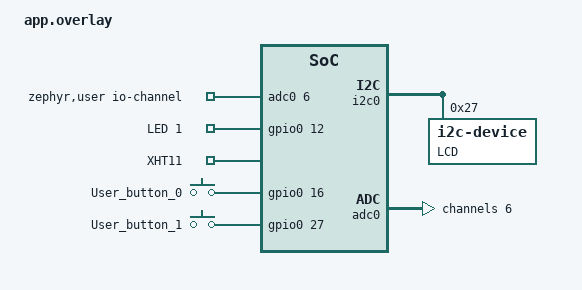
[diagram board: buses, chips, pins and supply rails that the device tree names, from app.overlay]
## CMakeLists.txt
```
# SPDX-License-Identifier: Apache-2.0

cmake_minimum_required(VERSION 3.20.0)

find_package(Zephyr REQUIRED HINTS $ENV{ZEPHYR_BASE})
project(hello_world)

target_sources(app PRIVATE src/main.c)
target_sources(app PRIVATE src/main.c src/lcd_screen_i2c.c)
```

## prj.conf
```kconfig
# nothing here
CONFIG_ESP32_USE_UNSUPPORTED_REVISION=y
CONFIG_I2C=y
CONFIG_SENSOR=y
CONFIG_ADC=y
CONFIG_PWM=y
```

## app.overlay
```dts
/ { 

    zephyr,user{
        io-channels= <&adc0 6>;
    };

    gpio_keys {
        compatible = "gpio-keys";
        ledyellow: led_yellow {
            gpios = <&gpio0 12 GPIO_ACTIVE_HIGH>;
            label = "LED 1";
        };

        dht11:dht11 {
            compatible = "aosong,dht";
            status = "okay";
            dio-gpios = <&gpio0 17 GPIO_ACTIVE_LOW>;
            label = "XHT11";
        };



    };
    buttons {
            
            
        button0: button_0 {
                gpios = <&gpio0 16 GPIO_PULL_UP>;
                label = "User_button_0";
        };

        button1: button_1 {
                gpios = <&gpio0 27 GPIO_PULL_UP>;
                label = "User_button_1";
        };
    };
/* 
    pwm_buzzer {
        compatible="pwm-leds";
        status="okay";

        buzzer: buzzer_pwm {
            pwms = <&pwm1 0 PWM_HZ(880) PWM_POLARITY_NORMAL>;
            label = "PWM_1";
        };
    };
*/
    aliases {
        led-yellow = &ledyellow;
        lcd-screen = &lcdscreen;
        sw0 = &button0;
        sw1 = &button1;
        //buzzer-pwm = &buzzer;
    };
};



&i2c0 {
    lcdscreen: lcd_screen@27 {
            compatible = "i2c-device";
            label = "LCD";
            reg = <0x27>;


    };
};

&adc0 {
    status = "okay";
    #address-cells = <1>;
    #size-cells = <0>;
    
    channel@6 {
        reg = <6>;
        zephyr,gain = "ADC_GAIN_1_4";
        zephyr,reference = "ADC_REF_INTERNAL";
        zephyr,acquisition-time = <ADC_ACQ_TIME_DEFAULT>;
        zephyr,resolution = <12>;
    };
};
/* 
&pwm1 {
    status ="okay";
    pinctrl-0 = <&pwm1_default>;
    pinctrl-1 = <&pwm1_sleep>;
    pinctrl-names = "default", "sleep";
};
*/
```

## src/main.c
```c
#include <stdio.h>
#include <zephyr/kernel.h>
#include <zephyr/drivers/gpio.h>
#include "../driver-lcd1602-i2c/lcd_screen_i2c.h"
#include <zephyr/drivers/i2c.h>
#include <zephyr/drivers/sensor.h>
#include <zephyr/drivers/adc.h>
//#include <drivers/pwm.h>

#include <inttypes.h>
#include <stddef.h>
#include <stdint.h>

//Définition des aliases
#define LED_YELLOW_NODE DT_ALIAS(led_yellow)
#define LCD_SCREEN_NODE DT_ALIAS(lcd_screen)
#define SW0_NODE DT_ALIAS(sw0)
#define SW1_NODE DT_ALIAS(sw1)



//Définitions des devices utilisés
const struct gpio_dt_spec led_yellow_gpio = GPIO_DT_SPEC_GET_OR(LED_YELLOW_NODE, gpios, {0});
const struct i2c_dt_spec lcd_screen_dev = I2C_DT_SPEC_GET(LCD_SCREEN_NODE);
const struct device *const dht11 = DEVICE_DT_GET_ONE(aosong_dht);
static const struct gpio_dt_spec button0 = GPIO_DT_SPEC_GET_OR(SW0_NODE, gpios,{0});
//static const struct gpio_dt_spec button1 = GPIO_DT_SPEC_GET_OR(SW1_NODE, gpios,{0});

        //=========================================
        //                Fonctions
        //=========================================
    void button_pressed(const struct device *dev, struct gpio_callback *cb,
		    uint32_t pins)
{

	//Action à réaliser à l'appui bouton
	printk("Appui bouton !");

}

        //=========================================
        //                Main
        //=========================================
int main(void) 
{
	static struct gpio_callback button_cb_data;

	gpio_pin_configure_dt(&led_yellow_gpio, GPIO_OUTPUT_HIGH);
    
    
    // Init LCD device & buttons
    init_lcd(&lcd_screen_dev);
	gpio_init_callback(&button_cb_data, button_pressed, BIT(button0.pin));
	gpio_add_callback(button0.port, &button_cb_data);

	
	k_sleep(K_SECONDS(1));
	while (1)
	{

		k_sleep(K_SECONDS(10));
	}
    
}

void thread_lecture_th()
{ 
	while (1)
	{
		//Variable de temperature et humidité
    	struct sensor_value temperature, humidity;

        //=========================================
        //Lecture Capteur de température & Humidité
        //=========================================


        sensor_sample_fetch(dht11);

        //Lecture des données 
        sensor_channel_get(dht11,  SENSOR_CHAN_AMBIENT_TEMP, &temperature);
        sensor_channel_get(dht11,  SENSOR_CHAN_HUMIDITY, &humidity);

        int temp = sensor_value_to_double(&temperature);
        int humi = sensor_value_to_double(&humidity);

        printf("Température : %d \n", temp);
        printf("Humidité : %d\n", humi);

		k_sleep(K_SECONDS(10));
	}
};


void thread_lecture_analog(void)
{
    while (1)
	{
        //=========================================
        //Lecture SteamSensor
        //=========================================


        #if !DT_NODE_EXISTS(DT_PATH(zephyr_user)) || \
	!DT_NODE_HAS_PROP(DT_PATH(zephyr_user), io_channels)
#error "No suitable devicetree overlay specified"
#endif

#define DT_SPEC_AND_COMMA(node_id, prop, idx) \
	ADC_DT_SPEC_GET_BY_IDX(node_id, idx),

/* Data of ADC io-channels specified in devicetree. */
static const struct adc_dt_spec adc_channels[] = {
	DT_FOREACH_PROP_ELEM(DT_PATH(zephyr_user), io_channels,
			     DT_SPEC_AND_COMMA)
};

    int err;
	//uint32_t count = 0;
	uint16_t buf;
	struct adc_sequence sequence = {
		.buffer = &buf,
		/* buffer size in bytes, not number of samples */
		.buffer_size = sizeof(buf),
	};

	/* Configure channels individually prior to sampling. */
	for (size_t i = 0U; i < ARRAY_SIZE(adc_channels); i++) {
		if (!adc_is_ready_dt(&adc_channels[i])) {
			printk("ADC controller device %s not ready\n", adc_channels[i].dev->name);

		}

		err = adc_channel_setup_dt(&adc_channels[i]);
		if (err < 0) {
			printk("Could not setup channel #%d (%d)\n", i, err);

		}
	}

		for (size_t i = 0U; i < ARRAY_SIZE(adc_channels); i++) {
			int32_t val_mv;

			printk("Lecture ADC STEAM SENSOR, channel %d: ",
		
			       adc_channels[i].channel_id);

			(void)adc_sequence_init_dt(&adc_channels[i], &sequence);

			err = adc_read_dt(&adc_channels[i], &sequence);
			if (err < 0) {
				printk("Could not read (%d)\n", err);
				continue;
			}

			/*
			 * If using differential mode, the 16 bit value
			 * in the ADC sample buffer should be a signed 2's
			 * complement value.
			 */
			if (adc_channels[i].channel_cfg.differential) {
				val_mv = (int32_t)((int16_t)buf);
			} else {
				val_mv = (int32_t)buf;
			}
			printk("%"PRId32, val_mv);
			err = adc_raw_to_millivolts_dt(&adc_channels[i],
						       &val_mv);
			/* conversion to mV may not be supported, skip if not */
			if (err < 0) {
				printk(" (value in mV not available)\n");
			} else {
				printk(" = %"PRId32" mV\n", val_mv);
			}
		}

	k_sleep(K_SECONDS(10));	
	};

}

void thread_button(void)
{

    //=========================================
    //Appui bouton
    //=========================================

	int ret;
	

	ret = gpio_pin_configure_dt(&button0, GPIO_INPUT);

	ret = gpio_pin_interrupt_configure_dt(&button0,	GPIO_INT_EDGE_FALLING);

	

};


K_THREAD_DEFINE(thread_lecture_analog_id, 521, thread_lecture_analog, NULL, NULL, NULL, 9, 0, 0);
K_THREAD_DEFINE(thread_button_id, 521, thread_button, NULL, NULL, NULL, 9, 0, 0);
K_THREAD_DEFINE(thread_lecture_th_id, 521, thread_lecture_th, NULL, NULL, NULL, 9, 0, 0);
```

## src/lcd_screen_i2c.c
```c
#include "../driver-lcd1602-i2c/lcd_screen_i2c.h"
#include <zephyr/kernel.h>
#include <zephyr/drivers/i2c.h>
#include <zephyr/drivers/sensor.h>

static void lcd_toggle_enable(const struct i2c_dt_spec *dev_lcd_screen, uint8_t bits);
static void lcd_byte(const struct i2c_dt_spec *dev_lcd_screen, uint8_t bits, uint8_t mode);



    void init_lcd(const struct i2c_dt_spec *dev_lcd_screen)
{
    lcd_byte(dev_lcd_screen, 0x33, LCD_CMD);
    lcd_byte(dev_lcd_screen, 0x32, LCD_CMD);
    lcd_byte(dev_lcd_screen, 0x06, LCD_CMD);
    lcd_byte(dev_lcd_screen, 0x0c, LCD_CMD);
    lcd_byte(dev_lcd_screen, 0x28, LCD_CMD);
    lcd_byte(dev_lcd_screen, 0x01, LCD_CMD);
    write_lcd(dev_lcd_screen, HELLO_MSG, LCD_LINE_1);
    write_lcd(dev_lcd_screen, ZEPHYR_MSG, LCD_LINE_2);
}

static void lcd_byte(const struct i2c_dt_spec *dev_lcd_screen, uint8_t bits, uint8_t mode)
{
    int ret = 0;
    uint8_t bits_high = mode | (bits & 0xf0) | LCD_BACKLIGHT;
    uint8_t bits_low = mode | ((bits << 4) & 0xf0) | LCD_BACKLIGHT;
    ret = i2c_write_dt(dev_lcd_screen, &bits_high, sizeof(bits_high));
    if (ret != 0)
    {
        printk("ERROR while writing to I2C");
    }
    lcd_toggle_enable(dev_lcd_screen, bits_high);

    ret = i2c_write_dt(dev_lcd_screen, &bits_low, sizeof(bits_low));
    if (ret != 0)
    {
        printk("ERROR while writing to I2C");
    }
    lcd_toggle_enable(dev_lcd_screen, bits_low);
}

void write_lcd(const struct i2c_dt_spec *dev_lcd_screen, const char *msg, uint8_t line)
{
    lcd_byte(dev_lcd_screen, line, LCD_CMD);

    // Todo: fill the array with space at the end to complete the line

    if (strlen(msg) > LCD_WIDTH)
    {
        return;
    }
    for (uint8_t i = 0; i < strlen(msg); i++)
    {
        lcd_byte(dev_lcd_screen, msg[i], LCD_CHR);
    }
}

static void lcd_toggle_enable(const struct i2c_dt_spec *dev_lcd_screen, uint8_t bits)
{
    int ret = 0;
    k_sleep(K_MSEC(5));
    uint8_t bits1 = bits | LCD_ENABLE;
    ret = i2c_write_dt(dev_lcd_screen, &bits1, sizeof(bits1));
    if (ret != 0)
    {
        printk("ERROR while writing to I2C");
    }
    k_sleep(K_MSEC(5));
    uint8_t bits2 = bits & ~LCD_ENABLE;
    ret = i2c_write_dt(dev_lcd_screen, &bits2, sizeof(bits2));
    if (ret != 0)
    {
        printk("ERROR while writing to I2C");
    }
    k_sleep(K_MSEC(5));
}
```
